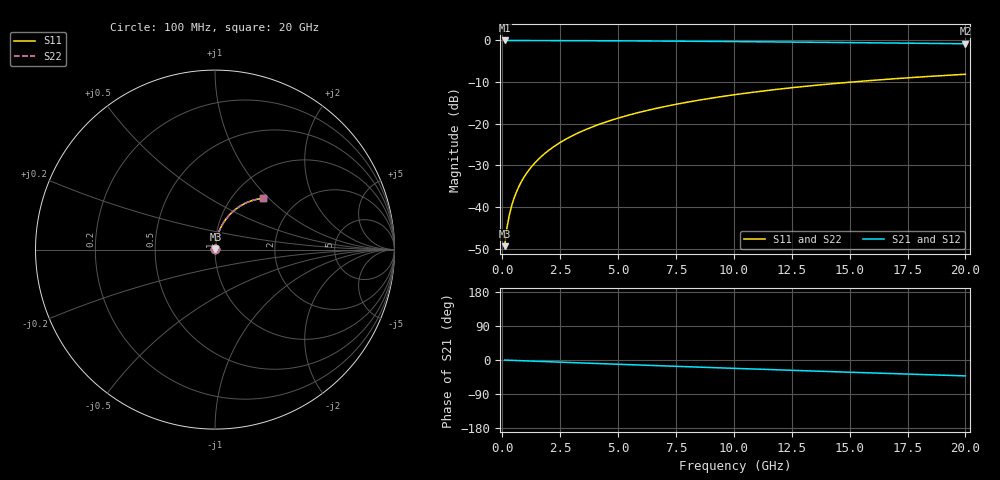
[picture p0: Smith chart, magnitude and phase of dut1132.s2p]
! Touchstone file exported from HFSS 2026.1.0
!  File:  C:/ffzhzh/LocalFiles/Ansys_Project_Files/temp_train_TMRDL_1132_1783161790_18472.aedt
!  Generated:  06:44:31 PM Jul  4, 2026
!  Design:  TMRDL
!  Project:  temp_train_TMRDL_1132_1783161790_18472
! Variables:
!  h_bsmrdl = 2um
!  h_ox = 20um
!  h_rdl = 5um
!  h_sub = 80um
!  h_tmrdl = 4.21um
!  h_tsv = 80um
!  h_via = 3um
!  l_bsmrdl = 300um
!  l_sub = 997.31um
!  l_tmrdl = 597.31um
!  m_sub = 200um
!  pitch = 58.02um
!  r_tsv = 6um
!  s_tmrdl = 10um
!  w_bsmrdl = 18um
!  w_sub = 500um
!  w_tmrdl = 25.56um
!  x_tsv_center1 = 610.09um
!  x_tsv_center2 = 928.09um
!  x_tsv_center3 = 1550.96um
!  x_tsv_center4 = 1868.96um
!  x_tsv_center5 = 2491.83um
!  x_tsv_center6 = 2809.83um
# GHz S MA R 50.000000
! Terminal data exported
! Port[1] = TM_RDL1_1_T1
! Port[2] = TM_RDL1_1_T2
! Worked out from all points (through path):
!   200 points, 100 MHz to 20 GHz, reference 50 ohm
!   highest |S21| = -0.02 dB at 100 MHz (marker M1); lowest = -0.8 dB at 20 GHz (marker M2)
!   group delay of S21, straight-line fit = 5.82 ps
!   lowest |S11| = -49.4 dB at 100 MHz (marker M3), VSWR 1.01, Z = 50.2 + j0.258 ohm
!   |S11| at or under -10 dB: start of sweep to 15.11 GHz
!   |S22| runs from -49.4 to -8.1 dB; largest |S21 - S12| = 3.3e-15
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0.1  0.003373 49.7  0.9978 -0.2  0.9978 -0.2  0.003373 49.7
! Gamma 0 0 0 0
! Port Impedance 50 0 50 0
0.2  0.005585 65.2  0.9977 -0.5  0.9977 -0.5  0.005585 65.2
0.3  0.007904 71.3  0.9975 -0.7  0.9975 -0.7  0.007903 71.3
0.4  0.01022 74.6  0.9974 -0.9  0.9974 -0.9  0.01022 74.6
0.5  0.01254 76.7  0.9973 -1.2  0.9973 -1.2  0.01254 76.7
0.7  0.01719 79.1  0.9972 -1.6  0.9972 -1.6  0.01719 79.1
0.8  0.01952 79.9  0.9971 -1.8  0.9971 -1.8  0.01952 79.9
1  0.0242 80.8  0.9969 -2.3  0.9969 -2.3  0.0242 80.8
1.2  0.02889 81.4  0.9967 -2.7  0.9967 -2.7  0.02889 81.4
1.4  0.03358 81.6  0.9965 -3.2  0.9965 -3.2  0.03358 81.6
1.7  0.04063 81.7  0.9961 -3.9  0.9961 -3.9  0.04063 81.7
2  0.04766 81.5  0.9957 -4.6  0.9957 -4.6  0.04766 81.5
2.7  0.06399 80.6  0.9944 -6.1  0.9944 -6.1  0.06399 80.6
3.5  0.08246 79.3  0.9926 -7.9  0.9926 -7.9  0.08246 79.3
4.2  0.09841 77.9  0.9907 -9.5  0.9907 -9.5  0.09841 77.9
5  0.1164 76.3  0.9883 -11.3  0.9883 -11.3  0.1164 76.3
6.8  0.1558 72.6  0.9819 -15.2  0.9819 -15.2  0.1558 72.6
8.3  0.1874 69.5  0.9757 -18.4  0.9757 -18.4  0.1874 69.6
10.1  0.2239 65.9  0.9674 -22.3  0.9674 -22.3  0.2239 65.9
13.4  0.2863 59.3  0.95 -29.1  0.95 -29.1  0.2863 59.3
16.7  0.3424 52.9  0.9308 -35.6  0.9308 -35.6  0.3424 53.0
20  0.3917 46.8  0.911 -41.9  0.911 -41.9  0.3917 46.8
